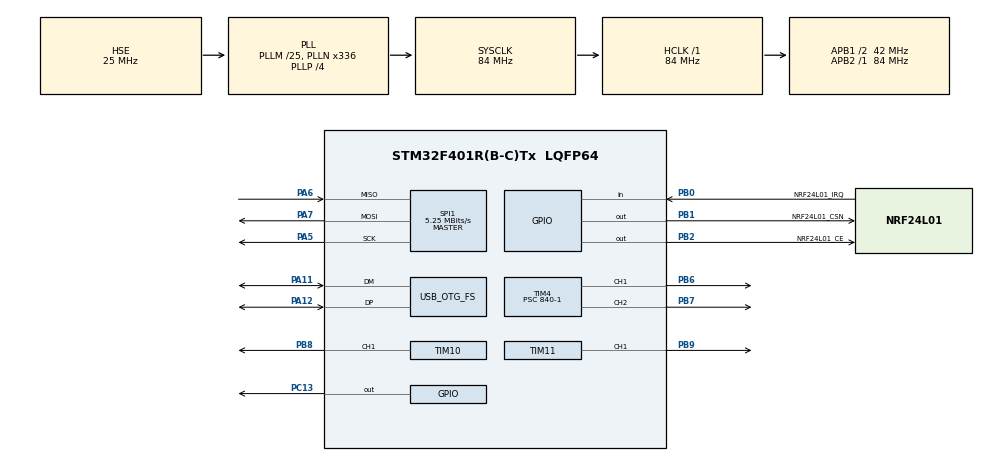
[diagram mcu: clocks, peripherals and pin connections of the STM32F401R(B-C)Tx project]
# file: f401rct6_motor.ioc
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Mcu.Family=STM32F4
Mcu.Name=STM32F401R(B-C)Tx
Mcu.Package=LQFP64
NVIC.OTG_FS_IRQn=true\:0\:0\:false\:false\:true\:false\:true\:true
NVIC.PriorityGroup=NVIC_PRIORITYGROUP_4
PA11.Mode=Device_Only
PA11.Signal=USB_OTG_FS_DM
PA12.Mode=Device_Only
PA12.Signal=USB_OTG_FS_DP
PA13.Mode=Serial_Wire
PA13.Signal=SYS_JTMS-SWDIO
PA14.Mode=Serial_Wire
PA14.Signal=SYS_JTCK-SWCLK
PA5.Mode=Full_Duplex_Master
PA5.Signal=SPI1_SCK
PA6.Mode=Full_Duplex_Master
PA6.Signal=SPI1_MISO
PA7.Mode=Full_Duplex_Master
PA7.Signal=SPI1_MOSI
PB0.GPIO_Label=NRF24L01_IRQ
PB0.Signal=GPIO_Input
PB1.GPIO_Label=NRF24L01_CSN
PB1.GPIO_PuPd=GPIO_NOPULL
PB1.GPIO_Speed=GPIO_SPEED_FREQ_HIGH
PB1.PinState=GPIO_PIN_SET
PB1.Signal=GPIO_Output
PB2.GPIO_Label=NRF24L01_CE
PB2.GPIO_Speed=GPIO_SPEED_FREQ_HIGH
PB2.PinState=GPIO_PIN_SET
PB2.Signal=GPIO_Output
PB6.Signal=S_TIM4_CH1
PB7.Signal=S_TIM4_CH2
PB8.Signal=S_TIM10_CH1
PB9.Signal=S_TIM11_CH1
PC13-ANTI_TAMP.Signal=GPIO_Output
PC14-OSC32_IN.Mode=LSE-External-Oscillator
PC14-OSC32_IN.Signal=RCC_OSC32_IN
PC15-OSC32_OUT.Mode=LSE-External-Oscillator
PC15-OSC32_OUT.Signal=RCC_OSC32_OUT
PH0\ -\ OSC_IN.Mode=HSE-External-Oscillator
PH0\ -\ OSC_IN.Signal=RCC_OSC_IN
PH1\ -\ OSC_OUT.Mode=HSE-External-Oscillator
PH1\ -\ OSC_OUT.Signal=RCC_OSC_OUT
ProjectManager.HeapSize=0x200
ProjectManager.StackSize=0x400
ProjectManager.TargetToolchain=STM32CubeIDE
RCC.48MHZClocksFreq_Value=48000000
RCC.AHBFreq_Value=84000000
RCC.APB1CLKDivider=RCC_HCLK_DIV2
RCC.APB1Freq_Value=42000000
RCC.APB1TimFreq_Value=84000000
RCC.APB2Freq_Value=84000000
RCC.APB2TimFreq_Value=84000000
RCC.CortexFreq_Value=84000000
RCC.HCLKFreq_Value=84000000
RCC.HSE_VALUE=25000000
RCC.HSI_VALUE=16000000
RCC.PLLM=25
RCC.PLLN=336
RCC.PLLP=RCC_PLLP_DIV4
RCC.PLLQ=7
RCC.SYSCLKFreq_VALUE=84000000
RCC.SYSCLKSource=RCC_SYSCLKSOURCE_PLLCLK
RCC.VCOOutputFreq_Value=336000000
SH.S_TIM10_CH1.0=TIM10_CH1,PWM Generation1 CH1
SH.S_TIM11_CH1.0=TIM11_CH1,PWM Generation1 CH1
SH.S_TIM4_CH1.0=TIM4_CH1,PWM Generation1 CH1
SH.S_TIM4_CH2.0=TIM4_CH2,PWM Generation2 CH2
SPI1.BaudRatePrescaler=SPI_BAUDRATEPRESCALER_16
SPI1.CalculateBaudRate=5.25 MBits/s
SPI1.Direction=SPI_DIRECTION_2LINES
SPI1.Mode=SPI_MODE_MASTER
SPI1.VirtualType=VM_MASTER
TIM10.AutoReloadPreload=TIM_AUTORELOAD_PRELOAD_ENABLE
TIM10.Channel=TIM_CHANNEL_1
TIM10.OCPolarity_1=TIM_OCPOLARITY_LOW
TIM10.Period=2000-1
TIM10.Prescaler=840-1
TIM11.AutoReloadPreload=TIM_AUTORELOAD_PRELOAD_ENABLE
TIM11.Channel=TIM_CHANNEL_1
TIM11.OCPolarity_1=TIM_OCPOLARITY_LOW
TIM11.Period=2000-1
TIM11.Prescaler=840-1
TIM11.Pulse=0
TIM4.AutoReloadPreload=TIM_AUTORELOAD_PRELOAD_ENABLE
TIM4.Channel-PWM\ Generation1\ CH1=TIM_CHANNEL_1
TIM4.Channel-PWM\ Generation2\ CH2=TIM_CHANNEL_2
TIM4.OCPolarity_1=TIM_OCPOLARITY_LOW
TIM4.OCPolarity_2=TIM_OCPOLARITY_LOW
TIM4.Period=2000-1
TIM4.Prescaler=840-1
USB_DEVICE.CLASS_NAME_FS=CDC
USB_DEVICE.VirtualMode=Cdc
USB_DEVICE.VirtualModeFS=Cdc_FS
USB_OTG_FS.VirtualMode=Device_Only
VP_TIM10_VS_ClockSourceINT.Mode=Enable_Timer
VP_TIM11_VS_ClockSourceINT.Mode=Enable_Timer
VP_TIM4_VS_ClockSourceINT.Mode=Internal
VP_USB_DEVICE_VS_USB_DEVICE_CDC_FS.Mode=CDC_FS
board=custom

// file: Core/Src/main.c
/* USER CODE BEGIN Header */
/**
  ******************************************************************************
  * @file           : main.c
  * @brief          : Main program body
  ******************************************************************************
  * @attention
  *
  * Copyright (c) 2024 STMicroelectronics.
  * All rights reserved.
  *
  * This software is licensed under terms that can be found in the LICENSE file
  * in the root directory of this software component.
  * If no LICENSE file comes with this software, it is provided AS-IS.
  *
  ******************************************************************************
  */
/* USER CODE END Header */
#include "main.h"
#include "usb_device.h"

/* USER CODE BEGIN Includes */
#include "nrf24l01.h"
/* USER CODE END Includes */

SPI_HandleTypeDef hspi1;

TIM_HandleTypeDef htim4;
TIM_HandleTypeDef htim10;
TIM_HandleTypeDef htim11;

void SystemClock_Config(void);
static void MX_GPIO_Init(void);
static void MX_TIM4_Init(void);
static void MX_TIM11_Init(void);
static void MX_TIM10_Init(void);
static void MX_SPI1_Init(void);

/* USER CODE BEGIN 0 */
void PWM_SetPulse(TIM_HandleTypeDef *htim, uint32_t channel, uint16_t value) {
	HAL_TIM_PWM_Stop(htim, channel);
	TIM_OC_InitTypeDef sConfigOC = {0};
	sConfigOC.OCMode = TIM_OCMODE_PWM1;
	sConfigOC.Pulse = value;
	sConfigOC.OCPolarity = TIM_OCPOLARITY_LOW;
	sConfigOC.OCFastMode = TIM_OCFAST_DISABLE;
	if (HAL_TIM_PWM_ConfigChannel(htim, &sConfigOC, channel) != HAL_OK)
	{
		Error_Handler();
	}
	HAL_TIM_PWM_Start(htim, channel);
}
/* USER CODE END 0 */

int main(void)
{

  /* MCU Configuration--------------------------------------------------------*/

  /* Reset of all peripherals, Initializes the Flash interface and the Systick. */
  HAL_Init();

  /* Configure the system clock */
  SystemClock_Config();

  /* Initialize all configured peripherals */
  MX_GPIO_Init();
  MX_TIM4_Init();
  MX_TIM11_Init();
  MX_TIM10_Init();
  MX_SPI1_Init();
  MX_USB_DEVICE_Init();
  /* USER CODE BEGIN 2 */
  NRF24L01_Init();

  uint8_t isRx = 1; // switch rx/tx
  uint8_t nrf24l01Status = NRF24L01_Check();

  if (nrf24l01Status) {
  	if (isRx) {
  		NRF24L01_RxMode(46, 5);
  	} else {
  		NRF24L01_TxMode(46);
  	}
  }
  /* USER CODE END 2 */

  /* Infinite loop */
  /* USER CODE BEGIN WHILE */
  uint8_t buffer[] = {0x1,0x1,0x1,0x1,0x1};
  uint8_t result = 0;
//  uint16_t v = 0;
  while (1)
  {
    /* USER CODE END WHILE */

    /* USER CODE BEGIN 3 */
	  if (nrf24l01Status) {
		  if (isRx) {
			  result=NRF24L01_RxPacket(buffer, 5);
		  } else {
			  for (int i=0; i < 5; ++i) {
				  buffer[i] += 1;
			  }
			  result=NRF24L01_TxPacket(buffer, 5);
		  }
	  }
//	  v = (v + 100) % 2000;
//	  PWM_SetPulse(&htim10, TIM_CHANNEL_1, v);
//	  PWM_SetPulse(&htim4, TIM_CHANNEL_1, v);
	  HAL_Delay(1000);
	  HAL_GPIO_WritePin(GPIOC, GPIO_PIN_13, GPIO_PIN_SET);
	  HAL_Delay(1000);
	  HAL_GPIO_WritePin(GPIOC, GPIO_PIN_13, GPIO_PIN_RESET);
  }
  /* USER CODE END 3 */
}

void SystemClock_Config(void)
{
  RCC_OscInitTypeDef RCC_OscInitStruct = {0};
  RCC_ClkInitTypeDef RCC_ClkInitStruct = {0};

  /** Configure the main internal regulator output voltage
  */
  __HAL_RCC_PWR_CLK_ENABLE();
  __HAL_PWR_VOLTAGESCALING_CONFIG(PWR_REGULATOR_VOLTAGE_SCALE2);

  /** Initializes the RCC Oscillators according to the specified parameters
  * in the RCC_OscInitTypeDef structure.
  */
  RCC_OscInitStruct.OscillatorType = RCC_OSCILLATORTYPE_HSE;
  RCC_OscInitStruct.HSEState = RCC_HSE_ON;
  RCC_OscInitStruct.PLL.PLLState = RCC_PLL_ON;
  RCC_OscInitStruct.PLL.PLLSource = RCC_PLLSOURCE_HSE;
  RCC_OscInitStruct.PLL.PLLM = 25;
  RCC_OscInitStruct.PLL.PLLN = 336;
  RCC_OscInitStruct.PLL.PLLP = RCC_PLLP_DIV4;
  RCC_OscInitStruct.PLL.PLLQ = 7;
  if (HAL_RCC_OscConfig(&RCC_OscInitStruct) != HAL_OK)
  {
    Error_Handler();
  }

  /** Initializes the CPU, AHB and APB buses clocks
  */
  RCC_ClkInitStruct.ClockType = RCC_CLOCKTYPE_HCLK|RCC_CLOCKTYPE_SYSCLK
                              |RCC_CLOCKTYPE_PCLK1|RCC_CLOCKTYPE_PCLK2;
  RCC_ClkInitStruct.SYSCLKSource = RCC_SYSCLKSOURCE_PLLCLK;
  RCC_ClkInitStruct.AHBCLKDivider = RCC_SYSCLK_DIV1;
  RCC_ClkInitStruct.APB1CLKDivider = RCC_HCLK_DIV2;
  RCC_ClkInitStruct.APB2CLKDivider = RCC_HCLK_DIV1;

  if (HAL_RCC_ClockConfig(&RCC_ClkInitStruct, FLASH_LATENCY_2) != HAL_OK)
  {
    Error_Handler();
  }
}

static void MX_SPI1_Init(void)
{

  /* SPI1 parameter configuration*/
  hspi1.Instance = SPI1;
  hspi1.Init.Mode = SPI_MODE_MASTER;
  hspi1.Init.Direction = SPI_DIRECTION_2LINES;
  hspi1.Init.DataSize = SPI_DATASIZE_8BIT;
  hspi1.Init.CLKPolarity = SPI_POLARITY_LOW;
  hspi1.Init.CLKPhase = SPI_PHASE_1EDGE;
  hspi1.Init.NSS = SPI_NSS_SOFT;
  hspi1.Init.BaudRatePrescaler = SPI_BAUDRATEPRESCALER_16;
  hspi1.Init.FirstBit = SPI_FIRSTBIT_MSB;
  hspi1.Init.TIMode = SPI_TIMODE_DISABLE;
  hspi1.Init.CRCCalculation = SPI_CRCCALCULATION_DISABLE;
  hspi1.Init.CRCPolynomial = 10;
  if (HAL_SPI_Init(&hspi1) != HAL_OK)
  {
    Error_Handler();
  }

}

static void MX_TIM4_Init(void)
{

  TIM_ClockConfigTypeDef sClockSourceConfig = {0};
  TIM_MasterConfigTypeDef sMasterConfig = {0};
  TIM_OC_InitTypeDef sConfigOC = {0};

  htim4.Instance = TIM4;
  htim4.Init.Prescaler = 840-1;
  htim4.Init.CounterMode = TIM_COUNTERMODE_UP;
  htim4.Init.Period = 2000-1;
  htim4.Init.ClockDivision = TIM_CLOCKDIVISION_DIV1;
  htim4.Init.AutoReloadPreload = TIM_AUTORELOAD_PRELOAD_ENABLE;
  if (HAL_TIM_Base_Init(&htim4) != HAL_OK)
  {
    Error_Handler();
  }
  sClockSourceConfig.ClockSource = TIM_CLOCKSOURCE_INTERNAL;
  if (HAL_TIM_ConfigClockSource(&htim4, &sClockSourceConfig) != HAL_OK)
  {
    Error_Handler();
  }
  if (HAL_TIM_PWM_Init(&htim4) != HAL_OK)
  {
    Error_Handler();
  }
  sMasterConfig.MasterOutputTrigger = TIM_TRGO_RESET;
  sMasterConfig.MasterSlaveMode = TIM_MASTERSLAVEMODE_DISABLE;
  if (HAL_TIMEx_MasterConfigSynchronization(&htim4, &sMasterConfig) != HAL_OK)
  {
    Error_Handler();
  }
  sConfigOC.OCMode = TIM_OCMODE_PWM1;
  sConfigOC.Pulse = 0;
  sConfigOC.OCPolarity = TIM_OCPOLARITY_LOW;
  sConfigOC.OCFastMode = TIM_OCFAST_DISABLE;
  if (HAL_TIM_PWM_ConfigChannel(&htim4, &sConfigOC, TIM_CHANNEL_1) != HAL_OK)
  {
    Error_Handler();
  }
  if (HAL_TIM_PWM_ConfigChannel(&htim4, &sConfigOC, TIM_CHANNEL_2) != HAL_OK)
  {
    Error_Handler();
  }
  HAL_TIM_MspPostInit(&htim4);

}

static void MX_TIM10_Init(void)
{

  TIM_OC_InitTypeDef sConfigOC = {0};

  htim10.Instance = TIM10;
  htim10.Init.Prescaler = 840-1;
  htim10.Init.CounterMode = TIM_COUNTERMODE_UP;
  htim10.Init.Period = 2000-1;
  htim10.Init.ClockDivision = TIM_CLOCKDIVISION_DIV1;
  htim10.Init.AutoReloadPreload = TIM_AUTORELOAD_PRELOAD_ENABLE;
  if (HAL_TIM_Base_Init(&htim10) != HAL_OK)
  {
    Error_Handler();
  }
  if (HAL_TIM_PWM_Init(&htim10) != HAL_OK)
  {
    Error_Handler();
  }
  sConfigOC.OCMode = TIM_OCMODE_PWM1;
  sConfigOC.Pulse = 0;
  sConfigOC.OCPolarity = TIM_OCPOLARITY_LOW;
  sConfigOC.OCFastMode = TIM_OCFAST_DISABLE;
  if (HAL_TIM_PWM_ConfigChannel(&htim10, &sConfigOC, TIM_CHANNEL_1) != HAL_OK)
  {
    Error_Handler();
  }
  HAL_TIM_MspPostInit(&htim10);

}

static void MX_TIM11_Init(void)
{

  TIM_OC_InitTypeDef sConfigOC = {0};

  htim11.Instance = TIM11;
  htim11.Init.Prescaler = 840-1;
  htim11.Init.CounterMode = TIM_COUNTERMODE_UP;
  htim11.Init.Period = 2000-1;
  htim11.Init.ClockDivision = TIM_CLOCKDIVISION_DIV1;
  htim11.Init.AutoReloadPreload = TIM_AUTORELOAD_PRELOAD_ENABLE;
  if (HAL_TIM_Base_Init(&htim11) != HAL_OK)
  {
    Error_Handler();
  }
  if (HAL_TIM_PWM_Init(&htim11) != HAL_OK)
  {
    Error_Handler();
  }
  sConfigOC.OCMode = TIM_OCMODE_PWM1;
  sConfigOC.Pulse = 0;
  sConfigOC.OCPolarity = TIM_OCPOLARITY_LOW;
  sConfigOC.OCFastMode = TIM_OCFAST_DISABLE;
  if (HAL_TIM_PWM_ConfigChannel(&htim11, &sConfigOC, TIM_CHANNEL_1) != HAL_OK)
  {
    Error_Handler();
  }
  HAL_TIM_MspPostInit(&htim11);

}

static void MX_GPIO_Init(void)
{
  GPIO_InitTypeDef GPIO_InitStruct = {0};

  /* GPIO Ports Clock Enable */
  __HAL_RCC_GPIOC_CLK_ENABLE();
  __HAL_RCC_GPIOH_CLK_ENABLE();
  __HAL_RCC_GPIOA_CLK_ENABLE();
  __HAL_RCC_GPIOB_CLK_ENABLE();

  /*Configure GPIO pin Output Level */
  HAL_GPIO_WritePin(GPIOC, GPIO_PIN_13, GPIO_PIN_RESET);

  /*Configure GPIO pin Output Level */
  HAL_GPIO_WritePin(GPIOB, NRF24L01_CSN_Pin|NRF24L01_CE_Pin, GPIO_PIN_SET);

  /*Configure GPIO pin : PC13 */
  GPIO_InitStruct.Pin = GPIO_PIN_13;
  GPIO_InitStruct.Mode = GPIO_MODE_OUTPUT_PP;
  GPIO_InitStruct.Pull = GPIO_NOPULL;
  GPIO_InitStruct.Speed = GPIO_SPEED_FREQ_LOW;
  HAL_GPIO_Init(GPIOC, &GPIO_InitStruct);

  /*Configure GPIO pin : NRF24L01_IRQ_Pin */
  GPIO_InitStruct.Pin = NRF24L01_IRQ_Pin;
  GPIO_InitStruct.Mode = GPIO_MODE_INPUT;
  GPIO_InitStruct.Pull = GPIO_NOPULL;
  HAL_GPIO_Init(NRF24L01_IRQ_GPIO_Port, &GPIO_InitStruct);

  /*Configure GPIO pins : NRF24L01_CSN_Pin NRF24L01_CE_Pin */
  GPIO_InitStruct.Pin = NRF24L01_CSN_Pin|NRF24L01_CE_Pin;
  GPIO_InitStruct.Mode = GPIO_MODE_OUTPUT_PP;
  GPIO_InitStruct.Pull = GPIO_NOPULL;
  GPIO_InitStruct.Speed = GPIO_SPEED_FREQ_HIGH;
  HAL_GPIO_Init(GPIOB, &GPIO_InitStruct);

}

void Error_Handler(void)
{
  __disable_irq();
  while (1)
  {
  }
}
